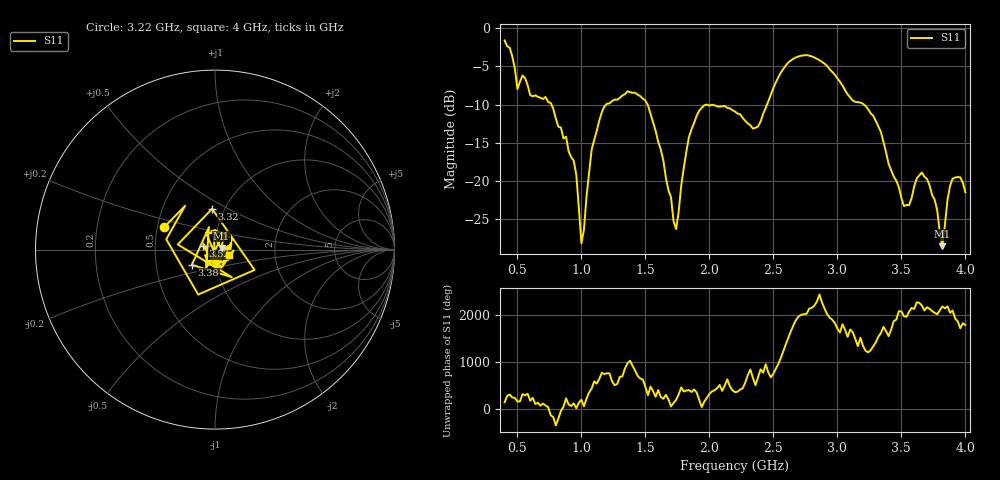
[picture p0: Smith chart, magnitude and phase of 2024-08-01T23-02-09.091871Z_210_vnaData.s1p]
!Created with skrf (http://scikit-rf.org).
# Hz S RI R 50.0
!freq ReS11 ImS11
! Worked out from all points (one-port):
!   181 points, 400 MHz to 4 GHz, reference 50 ohm
!   lowest |S11| = -28.5 dB at 3.82 GHz (marker M1), VSWR 1.08, Z = 53.8 + j0.927 ohm
!   |S11| at or under -10 dB: 1.517 GHz to 1.976 GHz (459.3 MHz wide, 26.3 % of centre); 1.982 GHz to 2.45 GHz (467.2 MHz wide, 21.1 % of centre); 3.208 GHz to end of sweep (the widest 3 of 4)
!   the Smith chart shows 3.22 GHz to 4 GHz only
!   S11 on the Smith chart (normalised r, x): 3.22 GHz: 0.54, +0.15; 3.32 GHz: 0.87, +0.42; 3.38 GHz: 0.76, -0.13; 3.52 GHz: 0.88, +0.03; 4 GHz: 1.17, -0.07
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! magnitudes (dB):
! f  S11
! 400 MHz  -1.6
! 500 MHz  -8.0
! 720 MHz  -9.0
! 860 MHz  -14.4
! 960 MHz  -19.2
! 1 GHz  -28.1
! 1.08 GHz  -15.9
! 1.14 GHz  -12.0
! 1.3 GHz  -9.1
! 1.52 GHz  -10.1
! 1.72 GHz  -25.3
! 1.76 GHz  -24.0
! 1.84 GHz  -14.3
! 1.92 GHz  -10.8
! 2.2 GHz  -10.9
! 2.38 GHz  -12.8
! 2.66 GHz  -4.0
! 3.1 GHz  -9.0
! 3.22 GHz  -10.2
! 3.32 GHz  -12.8
! 3.38 GHz  -16.2
! 3.52 GHz  -23.3
! 3.56 GHz  -23.1
! 3.66 GHz  -18.9
! 3.76 GHz  -22.4
! 3.82 GHz  -28.5
! 3.9 GHz  -19.7
! 4 GHz  -21.5
